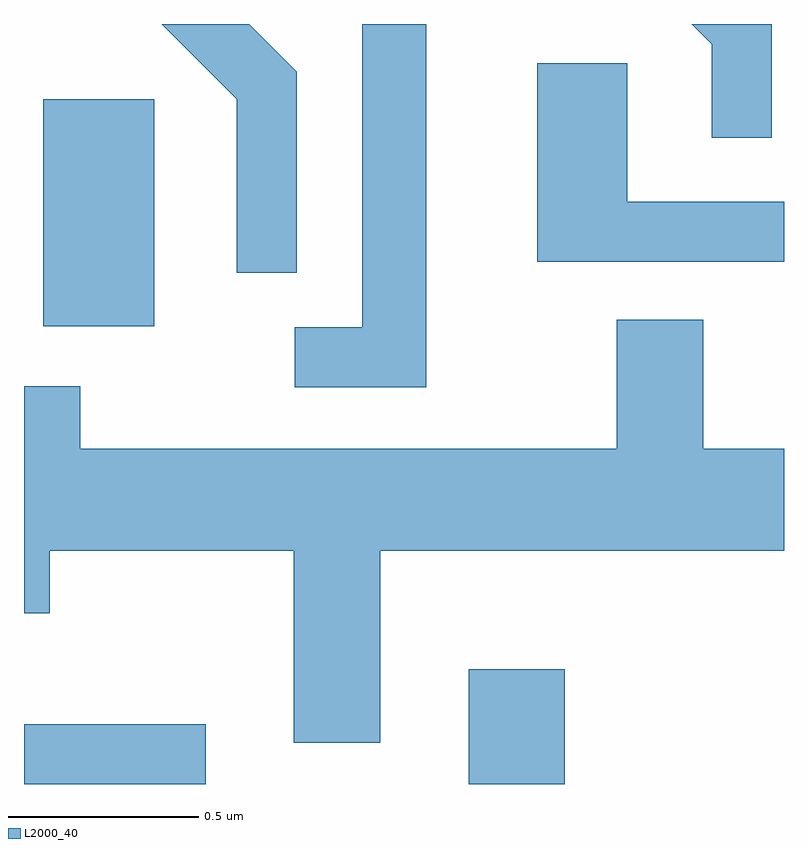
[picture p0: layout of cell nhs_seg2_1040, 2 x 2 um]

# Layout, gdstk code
import gdstk
lib = gdstk.Library(unit=1e-6, precision=1e-09)
def R(c, l, rs):  # rectangles x0, y0, x1, y1
    for r in rs: c.add(gdstk.rectangle(r[:2], r[2:], *l))
def P(c, l, *ps):  # polygons
    for p in ps: c.add(gdstk.Polygon(p, *l))
L2000_40 = (2000, 40)

nhs_seg2_1040 = lib.new_cell('nhs_seg2_1040')
R(nhs_seg2_1040, L2000_40, [(192.611,1058.802,193.089,1058.959), (193.781,1058.802,194.034,1059.104), (192.661,1060.006,192.954,1060.604)])
P(nhs_seg2_1040, L2000_40, [(193.329,1060.677),(193.204,1060.802),(192.973,1060.802),(193.171,1060.604),(193.171,1060.148),(193.329,1060.148)],
  [(193.669,1060.802),(193.501,1060.802),(193.501,1060.004),(193.323,1060.004),(193.323,1059.846),(193.669,1059.846)],
  [(194.579,1060.802),(194.368,1060.802),(194.421,1060.749),(194.421,1060.503),(194.579,1060.503)],
  [(194.611,1060.334),(194.199,1060.334),(194.199,1060.699),(193.961,1060.699),(193.961,1060.176),(194.611,1060.176)],
  [(193.549,1059.416),(194.611,1059.416),(194.611,1059.684),(194.399,1059.684),(194.399,1060.024),(194.171,1060.024),(194.171,1059.684),(192.759,1059.684),(192.759,1059.849),(192.611,1059.849),(192.611,1059.251),(192.679,1059.251),(192.679,1059.416),(193.321,1059.416),(193.321,1058.911),(193.549,1058.911)])

lib.write_gds('nhs_seg2_1040.gds')
